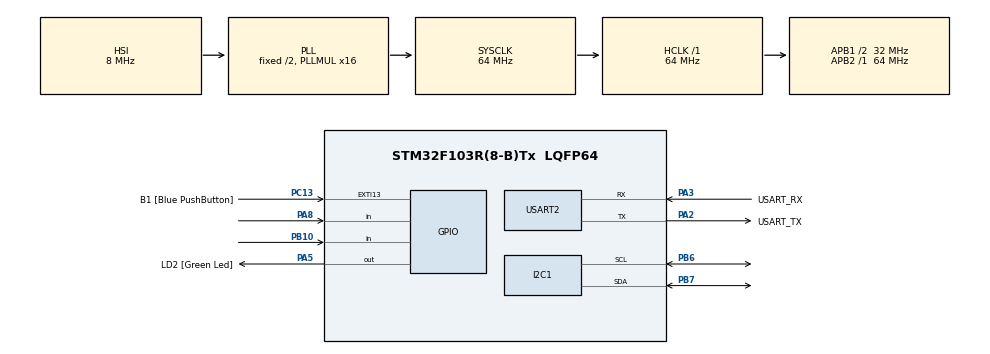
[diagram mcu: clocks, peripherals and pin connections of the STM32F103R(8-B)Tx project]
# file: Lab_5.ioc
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I2C1.I2C_Mode=I2C_Fast
Mcu.Family=STM32F1
Mcu.Name=STM32F103R(8-B)Tx
Mcu.Package=LQFP64
NVIC.EXTI15_10_IRQn=true\:0\:0\:false\:false\:true\:true\:true
NVIC.PriorityGroup=NVIC_PRIORITYGROUP_4
NVIC.TIM2_IRQn=true\:0\:0\:false\:false\:true\:true\:true
NVIC.TIM3_IRQn=true\:0\:0\:false\:false\:true\:true\:true
PA13.GPIO_Label=TMS
PA13.Mode=Serial_Wire
PA13.Signal=SYS_JTMS-SWDIO
PA14.GPIO_Label=TCK
PA14.Mode=Serial_Wire
PA14.Signal=SYS_JTCK-SWCLK
PA2.GPIO_Label=USART_TX
PA2.GPIO_Mode=GPIO_MODE_AF_PP
PA2.GPIO_PuPd=GPIO_NOPULL
PA2.GPIO_Speed=GPIO_SPEED_FREQ_LOW
PA2.Mode=Asynchronous
PA2.Signal=USART2_TX
PA3.GPIO_Label=USART_RX
PA3.GPIO_Mode=GPIO_MODE_AF_PP
PA3.GPIO_PuPd=GPIO_NOPULL
PA3.GPIO_Speed=GPIO_SPEED_FREQ_LOW
PA3.Mode=Asynchronous
PA3.Signal=USART2_RX
PA5.GPIO_Label=LD2 [Green Led]
PA5.GPIO_ModeDefaultOutputPP=GPIO_MODE_OUTPUT_PP
PA5.GPIO_PuPd=GPIO_NOPULL
PA5.GPIO_Speed=GPIO_SPEED_FREQ_LOW
PA5.Signal=GPIO_Output
PA8.Signal=GPIO_Input
PB10.Signal=GPIO_Input
PB3.GPIO_Label=SWO
PB3.Signal=SYS_JTDO-TRACESWO
PB6.Mode=I2C
PB6.Signal=I2C1_SCL
PB7.Mode=I2C
PB7.Signal=I2C1_SDA
PC13-TAMPER-RTC.GPIO_Label=B1 [Blue PushButton]
PC13-TAMPER-RTC.GPIO_PuPd=GPIO_NOPULL
PC13-TAMPER-RTC.Signal=GPXTI13
PC14-OSC32_IN.Mode=LSE-External-Oscillator
PC14-OSC32_IN.Signal=RCC_OSC32_IN
PC15-OSC32_OUT.Mode=LSE-External-Oscillator
PC15-OSC32_OUT.Signal=RCC_OSC32_OUT
PD0-OSC_IN.Mode=HSE-External-Clock-Source
PD0-OSC_IN.Signal=RCC_OSC_IN
PD1-OSC_OUT.Mode=HSE-External-Clock-Source
PD1-OSC_OUT.Signal=RCC_OSC_OUT
ProjectManager.HeapSize=0x200
ProjectManager.StackSize=0x400
ProjectManager.TargetToolchain=STM32CubeIDE
RCC.AHBFreq_Value=64000000
RCC.APB1CLKDivider=RCC_HCLK_DIV2
RCC.APB1Freq_Value=32000000
RCC.APB1TimFreq_Value=64000000
RCC.APB2Freq_Value=64000000
RCC.APB2TimFreq_Value=64000000
RCC.HCLKFreq_Value=64000000
RCC.PLLMUL=RCC_PLL_MUL16
RCC.RTCClockSelection=RCC_RTCCLKSOURCE_LSE
RCC.SYSCLKFreq_VALUE=64000000
RCC.SYSCLKSource=RCC_SYSCLKSOURCE_PLLCLK
RCC.USBFreq_Value=64000000
TIM2.CounterMode=TIM_COUNTERMODE_UP
TIM2.Period=10000-1
TIM2.Prescaler=6400-1
TIM3.Period=100-1
TIM3.Prescaler=6400-1
USART2.VirtualMode=VM_ASYNC
VP_TIM2_VS_ClockSourceINT.Mode=Internal
VP_TIM3_VS_ClockSourceINT.Mode=Internal
board=NUCLEO-F103RB

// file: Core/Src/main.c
/* USER CODE BEGIN Header */
/**
  ******************************************************************************
  * @file           : main.c
  * @brief          : Main program body
  ******************************************************************************
  * @attention
  *
  * <h2><center>&copy; Copyright (c) 2020 STMicroelectronics.
  * All rights reserved.</center></h2>
  *
  * This software component is licensed by ST under BSD 3-Clause license,
  * the "License"; You may not use this file except in compliance with the
  * License. You may obtain a copy of the License at:
  *                        opensource.org/licenses/BSD-3-Clause
  *
  ******************************************************************************
  */
/* USER CODE END Header */
#include "main.h"

/* USER CODE BEGIN Includes */
#include "DHT.h"
#include "fonts.h"
#include "ssd1306.h"
#include "test.h"
#include "bitmap.h"
#include "horse_anim.h"
#include <stdio.h>
/* USER CODE END Includes */

/* USER CODE BEGIN PTD */
#define HUMIDITY_THRESHOLD 60
#define heatThreshold 40
#define MAX_PERIOD 30
#define heatInc 11
#define heatDec 7
/* USER CODE END PTD */

I2C_HandleTypeDef hi2c1;

TIM_HandleTypeDef htim2;
TIM_HandleTypeDef htim3;

UART_HandleTypeDef huart2;

/* USER CODE BEGIN PV */
/* DEFINE THE DHT DataTypedef
* Look in the DHT.h for the definition
*/
DHT_DataTypedef DHT11_Data;
float Temperature = 0, Humidity = 0;

char uart_buf[50];
uint32_t uart_buf_len;

enum states {Init, SetPeriod, HeaterOn, HeaterOff, PumpOn};
enum states state = Init;

enum buttonStates {NotPressed, Pressed};
enum buttonStates adjust = NotPressed, increase = NotPressed;

enum adjustMode {Start, Increasing, Confirm};
enum adjustMode mode = Start;

uint8_t adjustFirstRead, adjustSecondRead, increaseFirstRead, increaseSecondRead;

uint32_t cnt0, cnt, heat = 0, period = 15;
uint8_t fan2, fan3;
float fan1, simTemp;
/* USER CODE END PV */

void SystemClock_Config(void);
static void MX_GPIO_Init(void);
static void MX_USART2_UART_Init(void);
static void MX_I2C1_Init(void);
static void MX_TIM3_Init(void);
static void MX_TIM2_Init(void);
/* USER CODE BEGIN PFP */
void PrintInfo();
void PrintInfoUART();
void PrintPeriodUART();
void PrintPeriod();
void ReadAdjust();
void ReadIncrease();
void FSM();
void AdjustFSM();
/* USER CODE END PFP */

/* USER CODE BEGIN 0 */
void ReadAdjust() {
	adjustFirstRead = adjustSecondRead;
	adjustSecondRead = !HAL_GPIO_ReadPin(GPIOA, GPIO_PIN_8);
	if (!adjustFirstRead && adjustSecondRead) { //read rising edge
			adjust = Pressed;
	}
	else
		adjust = NotPressed;
}

void ReadIncrease() {
	increaseFirstRead = increaseSecondRead;
	increaseSecondRead = !HAL_GPIO_ReadPin(GPIOB, GPIO_PIN_10);
	if (!increaseFirstRead && increaseSecondRead) { //read rising edge
		increase = Pressed;
	}
	else
		increase = NotPressed;
}

void PrintInfo() {
	SSD1306_GotoXY (0,0);
	uart_buf_len = sprintf(uart_buf, "Temperature %02.1foC\r\n", simTemp);
	SSD1306_Puts (uart_buf, &Font_7x10, 1);

	SSD1306_GotoXY (0, 10);
	uart_buf_len = sprintf(uart_buf, "Humidity %d%%", (int)(Humidity));
	SSD1306_Puts (uart_buf, &Font_7x10, 1);

	SSD1306_GotoXY (0,20);
	uart_buf_len = sprintf(uart_buf, "Fan 1", fan1);
	SSD1306_Puts (uart_buf, &Font_7x10, 0);
	SSD1306_GotoXY (40,20);
	if (fan1 != 0) {
		uart_buf_len = sprintf(uart_buf, "%02.02f", fan1);
	}
	else {
		uart_buf_len = sprintf(uart_buf, "OFF    ");
	}
	SSD1306_Puts (uart_buf, &Font_7x10, 1);

	SSD1306_GotoXY (0, 30);
	uart_buf_len = sprintf(uart_buf, "Fan 2 & Heater");
	SSD1306_Puts (uart_buf, &Font_7x10, 0);
	SSD1306_GotoXY (100, 30);
	if (fan2 == 1) {
		uart_buf_len = sprintf(uart_buf, "ON ");
	}
	else {
		uart_buf_len = sprintf(uart_buf, "OFF");
	}
	SSD1306_Puts (uart_buf, &Font_7x10, 1);

	SSD1306_GotoXY (0, 40);
	uart_buf_len = sprintf(uart_buf, "Fan 3 & Bump");
	SSD1306_Puts (uart_buf, &Font_7x10, 0);
	SSD1306_GotoXY (100, 40);
	if (fan3 == 1) {
			uart_buf_len = sprintf(uart_buf, "ON ");
		}
		else {
			uart_buf_len = sprintf(uart_buf, "OFF");
		}
	SSD1306_Puts (uart_buf, &Font_7x10, 1);

	SSD1306_GotoXY (55, 52);
	uart_buf_len = sprintf(uart_buf, "%02d", cnt);
	SSD1306_Puts (uart_buf, &Font_7x10, 1);

	SSD1306_UpdateScreen(); //display
}

void printInfoUART() {
	uart_buf_len = sprintf(uart_buf, "================================");
	HAL_UART_Transmit(&huart2, (uint8_t *) uart_buf, uart_buf_len, 100);
	uart_buf_len = sprintf(uart_buf, "Temperature: %d.%doC\r\n", (int)(Temperature), (heat/1000)%10);
	HAL_UART_Transmit(&huart2, (uint8_t *) uart_buf, uart_buf_len, 100);
	uart_buf_len = sprintf(uart_buf, "Humidity: %d%%\r\n", (int)(Humidity));
	HAL_UART_Transmit(&huart2, (uint8_t *) uart_buf, uart_buf_len, 100);
	uart_buf_len = sprintf(uart_buf, "Count: %d\r\n", cnt);
	HAL_UART_Transmit(&huart2, (uint8_t *) uart_buf, uart_buf_len, 100);
	uart_buf_len = sprintf(uart_buf, "State: %d\r\n", state);
	HAL_UART_Transmit(&huart2, (uint8_t *) uart_buf, uart_buf_len, 100);
}

void PrintPeriod() {
	SSD1306_GotoXY (0, 0);
	uart_buf_len = sprintf(uart_buf, "Period");
	SSD1306_Puts (uart_buf, &Font_7x10, 1);

	SSD1306_GotoXY (50, 30);
	uart_buf_len = sprintf(uart_buf, "%02lu", period);
	SSD1306_Puts (uart_buf, &Font_16x26, 1);
	SSD1306_UpdateScreen();
};

void PrintPeriodUART() {
	uart_buf_len = sprintf(uart_buf, "=================================\r\n");
	HAL_UART_Transmit(&huart2, (uint8_t *) uart_buf, uart_buf_len, 100);
	uart_buf_len = sprintf(uart_buf, "Period: %lu\r\n", period);
	HAL_UART_Transmit(&huart2, (uint8_t *) uart_buf, uart_buf_len, 100);
	uart_buf_len = sprintf(uart_buf, "Mode = %d\r\n", mode);
	HAL_UART_Transmit(&huart2, (uint8_t *) uart_buf, uart_buf_len, 100);
}

void AdjustFSM() {
	switch(mode){
	case Start:
		fan2 = 0;
		fan3 = 0;
		cnt = 0;
		cnt0 = 0;
		if (adjust == NotPressed){
			mode = Increasing;
			SSD1306_Clear();
		}
		break;
	case Increasing:
		if (increase == Pressed) {
			if (period < MAX_PERIOD) {
				period++;
			}
			else {
				period = 1;
			}
		}
		if (adjust == Pressed) {
			mode = Confirm;
		}
		else {
			mode = Increasing;
		}
		break;
	case Confirm:
		mode = Start;
		state = Init;
		SSD1306_Clear();
		break;
	}
};

void FSM() {
	switch(state) {
	case Init:
		fan2 = 0;
		fan3 = 0;
		simTemp = Temperature;
		if (adjust == Pressed) {
			state = SetPeriod;
		}
		else {
			state = HeaterOn;
		}
		break;
	case SetPeriod:
		break;
	case HeaterOn:
		fan2 = 1;
		fan3 = 0;
		heat += heatInc;
		simTemp = Temperature + (float)(heat)/10000;
		if (adjust == Pressed) {
			state = SetPeriod;
		}
		else if (cnt >= period) {
			cnt = 0;
			state = PumpOn;
		}
		else if (simTemp >= heatThreshold) {
			state = HeaterOff;
		}
		else
			state = HeaterOn;
		break;
	case HeaterOff:
		fan2 = 0;
		if (adjust == Pressed) {
			state = SetPeriod;
		}
		else if (cnt >= period) {
			cnt = 0;
			state = PumpOn;
		}
		else
			state = HeaterOff;
		break;
	case PumpOn:
		fan2 = 0;
		fan3 = 1;
		heat -= heatDec;
		simTemp = Temperature + (float)(heat)/10000;
		if (adjust == Pressed) {
			state = SetPeriod;
		}
		else if (cnt >= period) {
			cnt = 0;
			state = HeaterOn;
		}
		else
			state = PumpOn;
		break;
	}
}
/* USER CODE END 0 */

int main(void)
{

  /* MCU Configuration--------------------------------------------------------*/

  /* Reset of all peripherals, Initializes the Flash interface and the Systick. */
  HAL_Init();

  /* Configure the system clock */
  SystemClock_Config();

  /* Initialize all configured peripherals */
  MX_GPIO_Init();
  MX_USART2_UART_Init();
  MX_I2C1_Init();
  MX_TIM3_Init();
  MX_TIM2_Init();
  /* USER CODE BEGIN 2 */
  HAL_TIM_Base_Start_IT(&htim2);
  HAL_TIM_Base_Start_IT(&htim3);

  SSD1306_Init();
  /* USER CODE END 2 */

  /* Infinite loop */
  /* USER CODE BEGIN WHILE */
  while (1)
  {
	 if (DHT11_Data.error == 0) {
		 if (state != SetPeriod) {
			 PrintInfo();
			 printInfoUART();
		 }
		 else {
			 PrintPeriod();
			 PrintPeriodUART();
		 }
	 }
	else {
		SSD1306_GotoXY (0, 30);
		uart_buf_len = sprintf(uart_buf, "DHT11 timeout");
		SSD1306_Puts (uart_buf, &Font_7x10, 1);
		SSD1306_UpdateScreen();
	}
    /* USER CODE END WHILE */

  }
}

void SystemClock_Config(void)
{
  RCC_OscInitTypeDef RCC_OscInitStruct = {0};
  RCC_ClkInitTypeDef RCC_ClkInitStruct = {0};

  /** Initializes the RCC Oscillators according to the specified parameters
  * in the RCC_OscInitTypeDef structure.
  */
  RCC_OscInitStruct.OscillatorType = RCC_OSCILLATORTYPE_HSI;
  RCC_OscInitStruct.HSIState = RCC_HSI_ON;
  RCC_OscInitStruct.HSICalibrationValue = RCC_HSICALIBRATION_DEFAULT;
  RCC_OscInitStruct.PLL.PLLState = RCC_PLL_ON;
  RCC_OscInitStruct.PLL.PLLSource = RCC_PLLSOURCE_HSI_DIV2;
  RCC_OscInitStruct.PLL.PLLMUL = RCC_PLL_MUL16;
  if (HAL_RCC_OscConfig(&RCC_OscInitStruct) != HAL_OK)
  {
    Error_Handler();
  }
  /** Initializes the CPU, AHB and APB buses clocks
  */
  RCC_ClkInitStruct.ClockType = RCC_CLOCKTYPE_HCLK|RCC_CLOCKTYPE_SYSCLK
                              |RCC_CLOCKTYPE_PCLK1|RCC_CLOCKTYPE_PCLK2;
  RCC_ClkInitStruct.SYSCLKSource = RCC_SYSCLKSOURCE_PLLCLK;
  RCC_ClkInitStruct.AHBCLKDivider = RCC_SYSCLK_DIV1;
  RCC_ClkInitStruct.APB1CLKDivider = RCC_HCLK_DIV2;
  RCC_ClkInitStruct.APB2CLKDivider = RCC_HCLK_DIV1;

  if (HAL_RCC_ClockConfig(&RCC_ClkInitStruct, FLASH_LATENCY_2) != HAL_OK)
  {
    Error_Handler();
  }
}

static void MX_I2C1_Init(void)
{

  hi2c1.Instance = I2C1;
  hi2c1.Init.ClockSpeed = 400000;
  hi2c1.Init.DutyCycle = I2C_DUTYCYCLE_2;
  hi2c1.Init.OwnAddress1 = 0;
  hi2c1.Init.AddressingMode = I2C_ADDRESSINGMODE_7BIT;
  hi2c1.Init.DualAddressMode = I2C_DUALADDRESS_DISABLE;
  hi2c1.Init.OwnAddress2 = 0;
  hi2c1.Init.GeneralCallMode = I2C_GENERALCALL_DISABLE;
  hi2c1.Init.NoStretchMode = I2C_NOSTRETCH_DISABLE;
  if (HAL_I2C_Init(&hi2c1) != HAL_OK)
  {
    Error_Handler();
  }

}

static void MX_TIM2_Init(void)
{

  TIM_ClockConfigTypeDef sClockSourceConfig = {0};
  TIM_MasterConfigTypeDef sMasterConfig = {0};

  htim2.Instance = TIM2;
  htim2.Init.Prescaler = 6400-1;
  htim2.Init.CounterMode = TIM_COUNTERMODE_UP;
  htim2.Init.Period = 10000-1;
  htim2.Init.ClockDivision = TIM_CLOCKDIVISION_DIV1;
  htim2.Init.AutoReloadPreload = TIM_AUTORELOAD_PRELOAD_DISABLE;
  if (HAL_TIM_Base_Init(&htim2) != HAL_OK)
  {
    Error_Handler();
  }
  sClockSourceConfig.ClockSource = TIM_CLOCKSOURCE_INTERNAL;
  if (HAL_TIM_ConfigClockSource(&htim2, &sClockSourceConfig) != HAL_OK)
  {
    Error_Handler();
  }
  sMasterConfig.MasterOutputTrigger = TIM_TRGO_RESET;
  sMasterConfig.MasterSlaveMode = TIM_MASTERSLAVEMODE_DISABLE;
  if (HAL_TIMEx_MasterConfigSynchronization(&htim2, &sMasterConfig) != HAL_OK)
  {
    Error_Handler();
  }

}

static void MX_TIM3_Init(void)
{

  TIM_ClockConfigTypeDef sClockSourceConfig = {0};
  TIM_MasterConfigTypeDef sMasterConfig = {0};

  htim3.Instance = TIM3;
  htim3.Init.Prescaler = 6400-1;
  htim3.Init.CounterMode = TIM_COUNTERMODE_UP;
  htim3.Init.Period = 100-1;
  htim3.Init.ClockDivision = TIM_CLOCKDIVISION_DIV1;
  htim3.Init.AutoReloadPreload = TIM_AUTORELOAD_PRELOAD_DISABLE;
  if (HAL_TIM_Base_Init(&htim3) != HAL_OK)
  {
    Error_Handler();
  }
  sClockSourceConfig.ClockSource = TIM_CLOCKSOURCE_INTERNAL;
  if (HAL_TIM_ConfigClockSource(&htim3, &sClockSourceConfig) != HAL_OK)
  {
    Error_Handler();
  }
  sMasterConfig.MasterOutputTrigger = TIM_TRGO_RESET;
  sMasterConfig.MasterSlaveMode = TIM_MASTERSLAVEMODE_DISABLE;
  if (HAL_TIMEx_MasterConfigSynchronization(&htim3, &sMasterConfig) != HAL_OK)
  {
    Error_Handler();
  }

}

static void MX_USART2_UART_Init(void)
{

  huart2.Instance = USART2;
  huart2.Init.BaudRate = 115200;
  huart2.Init.WordLength = UART_WORDLENGTH_8B;
  huart2.Init.StopBits = UART_STOPBITS_1;
  huart2.Init.Parity = UART_PARITY_NONE;
  huart2.Init.Mode = UART_MODE_TX_RX;
  huart2.Init.HwFlowCtl = UART_HWCONTROL_NONE;
  huart2.Init.OverSampling = UART_OVERSAMPLING_16;
  if (HAL_UART_Init(&huart2) != HAL_OK)
  {
    Error_Handler();
  }

}

static void MX_GPIO_Init(void)
{
  GPIO_InitTypeDef GPIO_InitStruct = {0};

  /* GPIO Ports Clock Enable */
  __HAL_RCC_GPIOC_CLK_ENABLE();
  __HAL_RCC_GPIOD_CLK_ENABLE();
  __HAL_RCC_GPIOA_CLK_ENABLE();
  __HAL_RCC_GPIOB_CLK_ENABLE();

  /*Configure GPIO pin Output Level */
  HAL_GPIO_WritePin(LD2_GPIO_Port, LD2_Pin, GPIO_PIN_RESET);

  /*Configure GPIO pin : B1_Pin */
  GPIO_InitStruct.Pin = B1_Pin;
  GPIO_InitStruct.Mode = GPIO_MODE_IT_RISING;
  GPIO_InitStruct.Pull = GPIO_NOPULL;
  HAL_GPIO_Init(B1_GPIO_Port, &GPIO_InitStruct);

  /*Configure GPIO pin : LD2_Pin */
  GPIO_InitStruct.Pin = LD2_Pin;
  GPIO_InitStruct.Mode = GPIO_MODE_OUTPUT_PP;
  GPIO_InitStruct.Pull = GPIO_NOPULL;
  GPIO_InitStruct.Speed = GPIO_SPEED_FREQ_LOW;
  HAL_GPIO_Init(LD2_GPIO_Port, &GPIO_InitStruct);

  /*Configure GPIO pin : PB10 */
  GPIO_InitStruct.Pin = GPIO_PIN_10;
  GPIO_InitStruct.Mode = GPIO_MODE_INPUT;
  GPIO_InitStruct.Pull = GPIO_NOPULL;
  HAL_GPIO_Init(GPIOB, &GPIO_InitStruct);

  /*Configure GPIO pin : PA8 */
  GPIO_InitStruct.Pin = GPIO_PIN_8;
  GPIO_InitStruct.Mode = GPIO_MODE_INPUT;
  GPIO_InitStruct.Pull = GPIO_NOPULL;
  HAL_GPIO_Init(GPIOA, &GPIO_InitStruct);

  /* EXTI interrupt init*/
  HAL_NVIC_SetPriority(EXTI15_10_IRQn, 0, 0);
  HAL_NVIC_EnableIRQ(EXTI15_10_IRQn);

}

/* USER CODE BEGIN 4 */
void HAL_TIM_PeriodElapsedCallback(TIM_HandleTypeDef *htim) {
	if (htim == &htim3 && DHT11_Data.error == 0) {
		if (state != SetPeriod) {
			cnt0++;
			if (cnt0 % 100 == 0)
				cnt++;
		}
		if (DHT11_Data.Humidity > HUMIDITY_THRESHOLD) {
			fan1 = (100 * DHT11_Data.Humidity - 100 * HUMIDITY_THRESHOLD)/(100 - HUMIDITY_THRESHOLD);
		}
		else {
			fan1 = 0;
		}
		ReadAdjust();
		ReadIncrease();
		FSM();
		if (state == SetPeriod) {
			AdjustFSM();
		}
	}
	if (htim == &htim2) {
		DHT_GetData(&DHT11_Data);
		if (DHT11_Data.error == 0) {
			Temperature = DHT11_Data.Temperature;
			Humidity = DHT11_Data.Humidity;
		}
		else {
			SSD1306_Clear();
		}
	}
}
/* USER CODE END 4 */

void Error_Handler(void)
{
}

/************************ (C) COPYRIGHT STMicroelectronics *****END OF FILE****/
